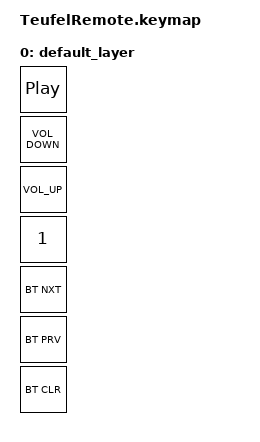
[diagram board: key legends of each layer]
#include <behaviors.dtsi>
#include <dt-bindings/zmk/keys.h>
#include <dt-bindings/zmk/bt.h>
#include <dt-bindings/zmk/outputs.h>

/ {
    keymap {
        compatible = "zmk,keymap";

        default_layer {
            bindings = <
                &kp C_PLAY_PAUSE
                &kp C_VOLUME_DOWN
                &kp C_VOLUME_UP
                &kp N1
                &bt BT_NXT
                &bt BT_PRV
                &bt BT_CLR
            >;
        };
    };
};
